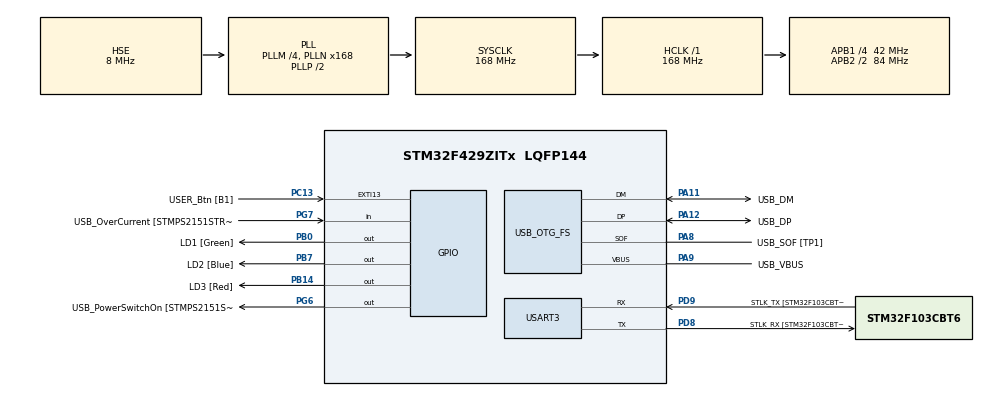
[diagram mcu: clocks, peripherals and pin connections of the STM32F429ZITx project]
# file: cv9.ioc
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Mcu.Family=STM32F4
Mcu.Name=STM32F429ZITx
Mcu.Package=LQFP144
NVIC.OTG_FS_IRQn=true\:0\:0\:false\:false\:true\:false\:true
NVIC.PriorityGroup=NVIC_PRIORITYGROUP_4
PA1.GPIO_Label=RMII_REF_CLK [LAN8742A-CZ-TR_REFCLK0]
PA1.Signal=ETH_REF_CLK
PA10.GPIO_Label=USB_ID
PA10.Signal=USB_OTG_FS_ID
PA11.GPIO_Label=USB_DM
PA11.Mode=Device_Only
PA11.Signal=USB_OTG_FS_DM
PA12.GPIO_Label=USB_DP
PA12.Mode=Device_Only
PA12.Signal=USB_OTG_FS_DP
PA13.GPIO_Label=TMS
PA13.Mode=Serial_Wire
PA13.Signal=SYS_JTMS-SWDIO
PA14.GPIO_Label=TCK
PA14.Mode=Serial_Wire
PA14.Signal=SYS_JTCK-SWCLK
PA2.GPIO_Label=RMII_MDIO [LAN8742A-CZ-TR_MDIO]
PA2.Signal=ETH_MDIO
PA7.GPIO_Label=RMII_CRS_DV [LAN8742A-CZ-TR_CRS_DV]
PA7.Signal=ETH_CRS_DV
PA8.GPIO_Label=USB_SOF [TP1]
PA8.Mode=Activate_SOF_FS
PA8.Signal=USB_OTG_FS_SOF
PA9.GPIO_Label=USB_VBUS
PA9.Mode=Activate_VBUS
PA9.Signal=USB_OTG_FS_VBUS
PB0.GPIO_Label=LD1 [Green]
PB0.Signal=GPIO_Output
PB13.GPIO_Label=RMII_TXD1 [LAN8742A-CZ-TR_TXD1]
PB13.Signal=ETH_TXD1
PB14.GPIO_Label=LD3 [Red]
PB14.Signal=GPIO_Output
PB7.GPIO_Label=LD2 [Blue]
PB7.Signal=GPIO_Output
PC1.GPIO_Label=RMII_MDC [LAN8742A-CZ-TR_MDC]
PC1.Signal=ETH_MDC
PC13.GPIO_Label=USER_Btn [B1]
PC13.Signal=GPXTI13
PC14/OSC32_IN.Mode=LSE-External-Oscillator
PC14/OSC32_IN.Signal=RCC_OSC32_IN
PC15/OSC32_OUT.Mode=LSE-External-Oscillator
PC15/OSC32_OUT.Signal=RCC_OSC32_OUT
PC4.GPIO_Label=RMII_RXD0 [LAN8742A-CZ-TR_RXD0]
PC4.Signal=ETH_RXD0
PC5.GPIO_Label=RMII_RXD1 [LAN8742A-CZ-TR_RXD1]
PC5.Signal=ETH_RXD1
PD8.GPIO_Label=STLK_RX [STM32F103CBT6_PA3]
PD8.Mode=Asynchronous
PD8.Signal=USART3_TX
PD9.GPIO_Label=STLK_TX [STM32F103CBT6_PA2]
PD9.Mode=Asynchronous
PD9.Signal=USART3_RX
PG11.GPIO_Label=RMII_TX_EN [LAN8742A-CZ-TR_TXEN]
PG11.Signal=ETH_TX_EN
PG13.GPIO_Label=RMII_TXD0 [LAN8742A-CZ-TR_TXD0]
PG13.Signal=ETH_TXD0
PG6.GPIO_Label=USB_PowerSwitchOn [STMPS2151STR_EN]
PG6.Signal=GPIO_Output
PG7.GPIO_Label=USB_OverCurrent [STMPS2151STR_FAULT]
PG7.Signal=GPIO_Input
PH0/OSC_IN.GPIO_Label=MCO [STM32F103CBT6_PA8]
PH0/OSC_IN.Mode=HSE-External-Clock-Source
PH0/OSC_IN.Signal=RCC_OSC_IN
PH1/OSC_OUT.Mode=HSE-External-Clock-Source
PH1/OSC_OUT.Signal=RCC_OSC_OUT
ProjectManager.HeapSize=0x200
ProjectManager.StackSize=0x400
ProjectManager.TargetToolchain=STM32CubeIDE
RCC.48MHZClocksFreq_Value=48000000
RCC.AHBFreq_Value=168000000
RCC.APB1CLKDivider=RCC_HCLK_DIV4
RCC.APB1Freq_Value=42000000
RCC.APB1TimFreq_Value=84000000
RCC.APB2CLKDivider=RCC_HCLK_DIV2
RCC.APB2Freq_Value=84000000
RCC.APB2TimCLKDivider=2
RCC.APB2TimFreq_Value=168000000
RCC.CortexFreq_Value=168000000
RCC.HCLKFreq_Value=168000000
RCC.HSE_VALUE=8000000
RCC.HSI_VALUE=16000000
RCC.PLLM=4
RCC.PLLMUL=RCC_PLL_MUL9
RCC.PLLN=168
RCC.PLLQ=7
RCC.PRESCALERUSB=RCC_USBCLKSOURCE_PLL_DIV1_5
RCC.SYSCLKFreq_VALUE=168000000
RCC.SYSCLKSource=RCC_SYSCLKSOURCE_PLLCLK
RCC.SYSCLKSourceVirtual=RCC_SYSCLKSOURCE_PLLCLK
RCC.USBFreq_Value=48000000
RCC.VCOOutputFreq_Value=336000000
USART3.VirtualMode=VM_ASYNC
USB_DEVICE.CLASS_NAME_FS=HID
USB_DEVICE.VirtualMode-HID_FS=Hid
USB_DEVICE.VirtualModeFS=Hid_FS
USB_OTG_FS.VirtualMode=Device_Only
VP_USB_DEVICE_VS_USB_DEVICE_HID_FS.Mode=HID_FS
board=NUCLEO-F429ZI

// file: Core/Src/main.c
/* USER CODE BEGIN Header */
/**
  ******************************************************************************
  * @file           : main.c
  * @brief          : Main program body
  ******************************************************************************
  * @attention
  *
  * <h2><center>&copy; Copyright (c) 2021 STMicroelectronics.
  * All rights reserved.</center></h2>
  *
  * This software component is licensed by ST under BSD 3-Clause license,
  * the "License"; You may not use this file except in compliance with the
  * License. You may obtain a copy of the License at:
  *                        opensource.org/licenses/BSD-3-Clause
  *
  ******************************************************************************
  */
/* USER CODE END Header */
#include "main.h"
#include "usb_device.h"

/* USER CODE BEGIN Includes */
#include "usbd_hid.h"
#include <math.h>
#include <stdbool.h>

/* USER CODE END Includes */

UART_HandleTypeDef huart3;

/* USER CODE BEGIN PV */
extern USBD_HandleTypeDef hUsbDeviceFS; // pro pristup ke strukture hUsbDeviceFS (definice je v usb_device.c)

/* USER CODE END PV */

void SystemClock_Config(void);
static void MX_GPIO_Init(void);
static void MX_USART3_UART_Init(void);

/* USER CODE BEGIN 0 */

void step(int x, int y, bool btn)
{

	  uint8_t buff[4]; // tato funkce nejdriv posune a pak aktualizuje tlacitko kresleni
	  if (btn == 1)
	  {
		  buff[0] = 0x01; // stiskni leve tlacitko
	  }
	  else
	  {
		  buff[0] = 0x00; // stiskni leve tlacitko
	  }

	  buff[1] = (int8_t)(x); // posun X +10
	  buff[2] = (int8_t)(y); // posun Y -3
	  buff[3] = 0; // bez scrollu
	  USBD_HID_SendReport(&hUsbDeviceFS, buff, sizeof(buff));
	  HAL_Delay(USBD_HID_GetPollingInterval(&hUsbDeviceFS));

}

// funkce circle kresly kruznici s radiusem od urcitehlo uhlo do urciteho uhlu
// cela funkce kreslí kruznici po castech
void circle(int radius, uint16_t oduhel, uint16_t douhel)
{
	  float x = 0;
	  float y = 0;

	  int32_t dx=0;
	  int32_t dy=0;

	  int32_t sx=0;
	  int32_t sy=0;

	  uint16_t angle = 0;
	  for(angle = oduhel ; angle <= douhel; angle = angle+10)
	  {
		  sx=x; // ulozeni stare souradnice
		  sy=y;

		  x= radius*cos(M_PI*angle/180);
		  y= radius*sin(M_PI*angle/180);

		  dx=sx-x; // vypocet diference
		  dy=sy-y;

		  step(dx,dy,1);

		  sx=sx+dx; // aktualizace promenne o diferenci
		  sy=sy+dy;

	  }

}

/* USER CODE END 0 */

int main(void)
{

  /* MCU Configuration--------------------------------------------------------*/

  /* Reset of all peripherals, Initializes the Flash interface and the Systick. */
  HAL_Init();

  /* Configure the system clock */
  SystemClock_Config();

  /* Initialize all configured peripherals */
  MX_GPIO_Init();
  MX_USART3_UART_Init();
  MX_USB_DEVICE_Init();
  /* USER CODE BEGIN 2 */

  uint8_t buff[4];
  buff[0] = 0x00; // stiskni leve tlacitko
  buff[1] = (int8_t)(10); // posun X +10
  buff[2] = (int8_t)(-3); // posun Y -3
  buff[3] = 0; // bez scrollu
  USBD_HID_SendReport(&hUsbDeviceFS, buff, sizeof(buff));
  HAL_Delay(USBD_HID_GetPollingInterval(&hUsbDeviceFS));

  /* USER CODE END 2 */

  /* Infinite loop */
  /* USER CODE BEGIN WHILE */
  while (1)
  {
	  if (HAL_GPIO_ReadPin(USER_Btn_GPIO_Port,USER_Btn_Pin)==1) // pri stisku tlacitka vykresli smajlika
	  {
		  circle(100,0,360);

		  step(0,0,0);
		  step(40,-20,0);
		  circle(10,0,360);

		  step(0,0,0);
		  step(90,0,0);
		  circle(10,0,360);

		  step(0,0,0);
		  step(-40,0,1);
		  step(0,40,0);
		  step(0,0,0);

		  step(-30,10,0);
		  circle(50,180,360);
		  step(0,0,0);

		 // step()
		 // USBD_HID_SendReport(&hUsbDeviceFS, buff, sizeof(buff));
		 // HAL_Delay(USBD_HID_GetPollingInterval(&hUsbDeviceFS));
	  }

    /* USER CODE END WHILE */

  }
}

void SystemClock_Config(void)
{
  RCC_OscInitTypeDef RCC_OscInitStruct = {0};
  RCC_ClkInitTypeDef RCC_ClkInitStruct = {0};

  /** Configure the main internal regulator output voltage
  */
  __HAL_RCC_PWR_CLK_ENABLE();
  __HAL_PWR_VOLTAGESCALING_CONFIG(PWR_REGULATOR_VOLTAGE_SCALE1);
  /** Initializes the RCC Oscillators according to the specified parameters
  * in the RCC_OscInitTypeDef structure.
  */
  RCC_OscInitStruct.OscillatorType = RCC_OSCILLATORTYPE_HSE;
  RCC_OscInitStruct.HSEState = RCC_HSE_BYPASS;
  RCC_OscInitStruct.PLL.PLLState = RCC_PLL_ON;
  RCC_OscInitStruct.PLL.PLLSource = RCC_PLLSOURCE_HSE;
  RCC_OscInitStruct.PLL.PLLM = 4;
  RCC_OscInitStruct.PLL.PLLN = 168;
  RCC_OscInitStruct.PLL.PLLP = RCC_PLLP_DIV2;
  RCC_OscInitStruct.PLL.PLLQ = 7;
  if (HAL_RCC_OscConfig(&RCC_OscInitStruct) != HAL_OK)
  {
    Error_Handler();
  }
  /** Initializes the CPU, AHB and APB buses clocks
  */
  RCC_ClkInitStruct.ClockType = RCC_CLOCKTYPE_HCLK|RCC_CLOCKTYPE_SYSCLK
                              |RCC_CLOCKTYPE_PCLK1|RCC_CLOCKTYPE_PCLK2;
  RCC_ClkInitStruct.SYSCLKSource = RCC_SYSCLKSOURCE_PLLCLK;
  RCC_ClkInitStruct.AHBCLKDivider = RCC_SYSCLK_DIV1;
  RCC_ClkInitStruct.APB1CLKDivider = RCC_HCLK_DIV4;
  RCC_ClkInitStruct.APB2CLKDivider = RCC_HCLK_DIV2;

  if (HAL_RCC_ClockConfig(&RCC_ClkInitStruct, FLASH_LATENCY_5) != HAL_OK)
  {
    Error_Handler();
  }
}

static void MX_USART3_UART_Init(void)
{

  huart3.Instance = USART3;
  huart3.Init.BaudRate = 115200;
  huart3.Init.WordLength = UART_WORDLENGTH_8B;
  huart3.Init.StopBits = UART_STOPBITS_1;
  huart3.Init.Parity = UART_PARITY_NONE;
  huart3.Init.Mode = UART_MODE_TX_RX;
  huart3.Init.HwFlowCtl = UART_HWCONTROL_NONE;
  huart3.Init.OverSampling = UART_OVERSAMPLING_16;
  if (HAL_UART_Init(&huart3) != HAL_OK)
  {
    Error_Handler();
  }

}

static void MX_GPIO_Init(void)
{
  GPIO_InitTypeDef GPIO_InitStruct = {0};

  /* GPIO Ports Clock Enable */
  __HAL_RCC_GPIOC_CLK_ENABLE();
  __HAL_RCC_GPIOH_CLK_ENABLE();
  __HAL_RCC_GPIOA_CLK_ENABLE();
  __HAL_RCC_GPIOB_CLK_ENABLE();
  __HAL_RCC_GPIOD_CLK_ENABLE();
  __HAL_RCC_GPIOG_CLK_ENABLE();

  /*Configure GPIO pin Output Level */
  HAL_GPIO_WritePin(GPIOB, LD1_Pin|LD3_Pin|LD2_Pin, GPIO_PIN_RESET);

  /*Configure GPIO pin Output Level */
  HAL_GPIO_WritePin(USB_PowerSwitchOn_GPIO_Port, USB_PowerSwitchOn_Pin, GPIO_PIN_RESET);

  /*Configure GPIO pin : USER_Btn_Pin */
  GPIO_InitStruct.Pin = USER_Btn_Pin;
  GPIO_InitStruct.Mode = GPIO_MODE_IT_RISING;
  GPIO_InitStruct.Pull = GPIO_NOPULL;
  HAL_GPIO_Init(USER_Btn_GPIO_Port, &GPIO_InitStruct);

  /*Configure GPIO pins : RMII_MDC_Pin RMII_RXD0_Pin RMII_RXD1_Pin */
  GPIO_InitStruct.Pin = RMII_MDC_Pin|RMII_RXD0_Pin|RMII_RXD1_Pin;
  GPIO_InitStruct.Mode = GPIO_MODE_AF_PP;
  GPIO_InitStruct.Pull = GPIO_NOPULL;
  GPIO_InitStruct.Speed = GPIO_SPEED_FREQ_VERY_HIGH;
  GPIO_InitStruct.Alternate = GPIO_AF11_ETH;
  HAL_GPIO_Init(GPIOC, &GPIO_InitStruct);

  /*Configure GPIO pins : RMII_REF_CLK_Pin RMII_MDIO_Pin RMII_CRS_DV_Pin */
  GPIO_InitStruct.Pin = RMII_REF_CLK_Pin|RMII_MDIO_Pin|RMII_CRS_DV_Pin;
  GPIO_InitStruct.Mode = GPIO_MODE_AF_PP;
  GPIO_InitStruct.Pull = GPIO_NOPULL;
  GPIO_InitStruct.Speed = GPIO_SPEED_FREQ_VERY_HIGH;
  GPIO_InitStruct.Alternate = GPIO_AF11_ETH;
  HAL_GPIO_Init(GPIOA, &GPIO_InitStruct);

  /*Configure GPIO pins : LD1_Pin LD3_Pin LD2_Pin */
  GPIO_InitStruct.Pin = LD1_Pin|LD3_Pin|LD2_Pin;
  GPIO_InitStruct.Mode = GPIO_MODE_OUTPUT_PP;
  GPIO_InitStruct.Pull = GPIO_NOPULL;
  GPIO_InitStruct.Speed = GPIO_SPEED_FREQ_LOW;
  HAL_GPIO_Init(GPIOB, &GPIO_InitStruct);

  /*Configure GPIO pin : RMII_TXD1_Pin */
  GPIO_InitStruct.Pin = RMII_TXD1_Pin;
  GPIO_InitStruct.Mode = GPIO_MODE_AF_PP;
  GPIO_InitStruct.Pull = GPIO_NOPULL;
  GPIO_InitStruct.Speed = GPIO_SPEED_FREQ_VERY_HIGH;
  GPIO_InitStruct.Alternate = GPIO_AF11_ETH;
  HAL_GPIO_Init(RMII_TXD1_GPIO_Port, &GPIO_InitStruct);

  /*Configure GPIO pin : USB_PowerSwitchOn_Pin */
  GPIO_InitStruct.Pin = USB_PowerSwitchOn_Pin;
  GPIO_InitStruct.Mode = GPIO_MODE_OUTPUT_PP;
  GPIO_InitStruct.Pull = GPIO_NOPULL;
  GPIO_InitStruct.Speed = GPIO_SPEED_FREQ_LOW;
  HAL_GPIO_Init(USB_PowerSwitchOn_GPIO_Port, &GPIO_InitStruct);

  /*Configure GPIO pin : USB_OverCurrent_Pin */
  GPIO_InitStruct.Pin = USB_OverCurrent_Pin;
  GPIO_InitStruct.Mode = GPIO_MODE_INPUT;
  GPIO_InitStruct.Pull = GPIO_NOPULL;
  HAL_GPIO_Init(USB_OverCurrent_GPIO_Port, &GPIO_InitStruct);

  /*Configure GPIO pins : RMII_TX_EN_Pin RMII_TXD0_Pin */
  GPIO_InitStruct.Pin = RMII_TX_EN_Pin|RMII_TXD0_Pin;
  GPIO_InitStruct.Mode = GPIO_MODE_AF_PP;
  GPIO_InitStruct.Pull = GPIO_NOPULL;
  GPIO_InitStruct.Speed = GPIO_SPEED_FREQ_VERY_HIGH;
  GPIO_InitStruct.Alternate = GPIO_AF11_ETH;
  HAL_GPIO_Init(GPIOG, &GPIO_InitStruct);

}

void Error_Handler(void)
{
  __disable_irq();
  while (1)
  {
  }
}

/************************ (C) COPYRIGHT STMicroelectronics *****END OF FILE****/
